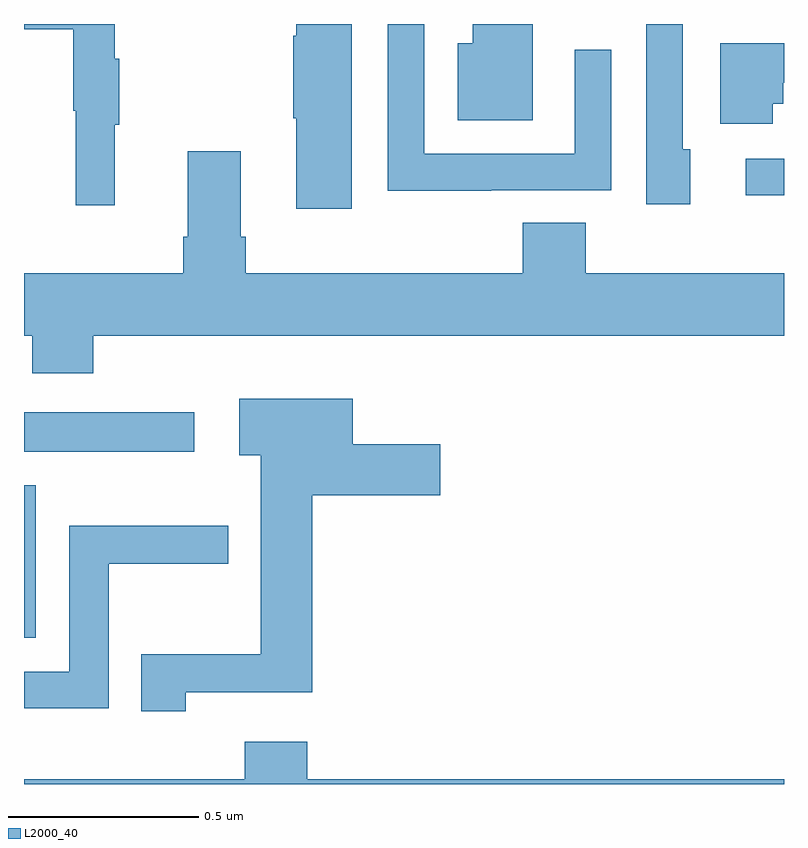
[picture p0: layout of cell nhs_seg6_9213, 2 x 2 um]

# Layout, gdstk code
import gdstk
lib = gdstk.Library(unit=1e-6, precision=1e-09)
def R(c, l, rs):  # rectangles x0, y0, x1, y1
    for r in rs: c.add(gdstk.rectangle(r[:2], r[2:], *l))
def P(c, l, *ps):  # polygons
    for p in ps: c.add(gdstk.Polygon(p, *l))
L2000_40 = (2000, 40)

nhs_seg6_9213 = lib.new_cell('nhs_seg6_9213')
R(nhs_seg6_9213, L2000_40, [(231,935.885,231.031,936.286), (231,936.374,231.448,936.478), (232.899,937.049,233,937.146)])
P(nhs_seg6_9213, L2000_40, [(231.862,937.5),(231.716,937.5),(231.716,937.469),(231.709,937.469),(231.709,937.252),(231.716,937.252),(231.716,937.014),(231.862,937.014)],
  [(232.229,937.062),(232.545,937.062),(232.545,937.432),(232.449,937.432),(232.449,937.158),(232.053,937.158),(232.053,937.5),(231.957,937.5),(231.957,937.061),(232.229,937.061)],
  [(232.339,937.5),(232.181,937.5),(232.181,937.45),(232.142,937.45),(232.142,937.247),(232.339,937.247)],
  [(232.753,937.17),(232.734,937.17),(232.734,937.5),(232.638,937.5),(232.638,937.026),(232.753,937.026)],
  [(231.239,937.235),(231.25,937.235),(231.25,937.409),(231.239,937.409),(231.239,937.5),(231,937.5),(231,937.486),(231.129,937.486),(231.129,937.272),(231.136,937.272),(231.136,937.023),(231.239,937.023)],
  [(232.971,937.29),(232.998,937.29),(232.998,937.346),(233,937.346),(233,937.45),(232.832,937.45),(232.832,937.238),(232.971,937.238)],
  [(231.182,936.68),(233,936.68),(233,936.844),(232.478,936.844),(232.478,936.977),(232.313,936.977),(232.313,936.844),(231.584,936.844),(231.584,936.94),(231.571,936.94),(231.571,937.165),(231.431,937.165),(231.431,936.94),(231.419,936.94),(231.419,936.844),(231,936.844),(231,936.68),(231.022,936.68),(231.022,936.581),(231.182,936.581)],
  [(231.426,935.741),(231.758,935.741),(231.758,936.26),(232.096,936.26),(232.096,936.394),(231.865,936.394),(231.865,936.514),(231.567,936.514),(231.567,936.365),(231.623,936.365),(231.623,935.841),(231.308,935.841),(231.308,935.691),(231.426,935.691)],
  [(231.223,936.079),(231.538,936.079),(231.538,936.179),(231.119,936.179),(231.119,935.796),(231,935.796),(231,935.699),(231.223,935.699)],
  [(233,935.512),(231.746,935.512),(231.746,935.611),(231.581,935.611),(231.581,935.512),(231,935.512),(231,935.5),(233,935.5)])

lib.write_gds('nhs_seg6_9213.gds')
